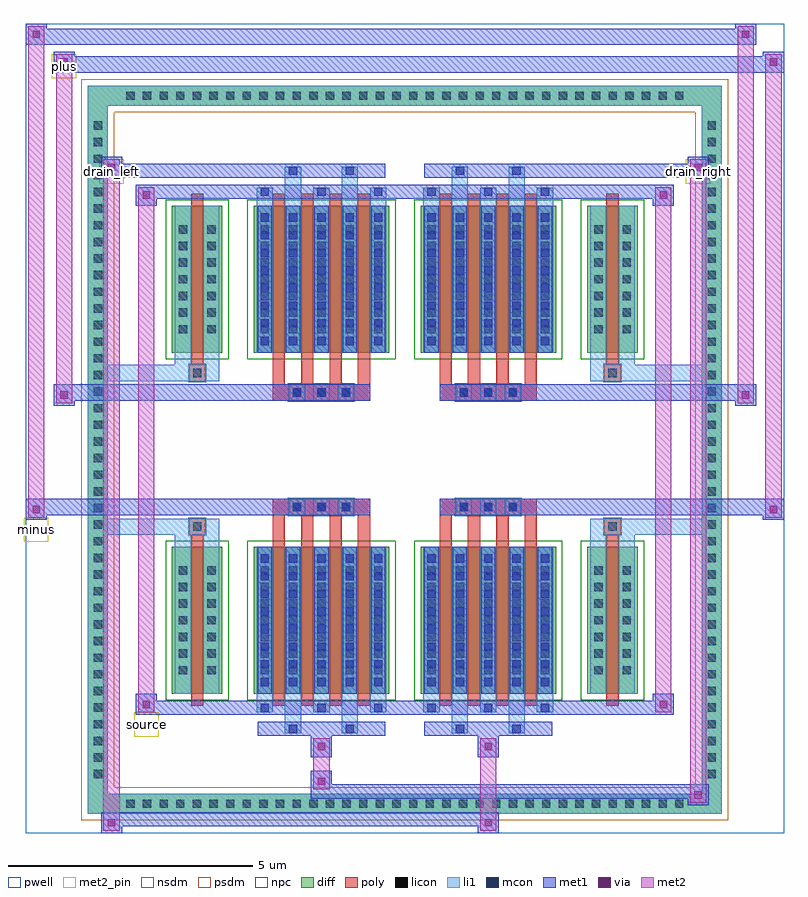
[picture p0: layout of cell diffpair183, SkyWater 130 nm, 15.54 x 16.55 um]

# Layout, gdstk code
import gdstk
lib = gdstk.Library(unit=1e-6, precision=5e-09)
def R(c, l, rs):  # rectangles x0, y0, x1, y1
    for r in rs: c.add(gdstk.rectangle(r[:2], r[2:], *l))
def A(c, l, x, y, w, h, nx, ny, dx, dy):  # array of equal rectangles
    R(c, l, [(x+i*dx, y+j*dy, x+i*dx+w, y+j*dy+h) for i in range(nx) for j in range(ny)])
def P(c, l, *ps):  # polygons
    for p in ps: c.add(gdstk.Polygon(p, *l))
pwell = (64, 44)
diff = (65, 20)
poly = (66, 20)
licon = (66, 44)
li1 = (67, 20)
mcon = (67, 44)
met1 = (68, 20)
via = (68, 44)
met2_pin = (69, 16)
met2 = (69, 20)
nsdm = (93, 44)
psdm = (94, 20)
npc = (95, 20)

diffpair183 = lib.new_cell('diffpair183')
R(diffpair183, pwell, [(-7.75,-7.84,7.75,8.71), (-5.07,-6.03,-0.01,-0.805), (0.01,-6.03,5.07,-0.805), (-5.07,0.805,-0.01,6.03), (0.01,0.805,5.07,6.03)])
A(diffpair183, diff, -5.815, -7.44, 0.41, 0.41, 34, 2, 0.34, 14.47)
A(diffpair183, diff, -6.48, -6.835, 0.41, 0.41, 1, 40, 0, 0.34)
A(diffpair183, diff, 6.07, -6.835, 0.41, 0.41, 1, 40, 0, 0.34)
R(diffpair183, diff, [(-5.815,-7.44,5.815,-7.03), (-6.48,-6.835,-6.07,6.835), (6.07,-6.835,6.48,6.835), (-4.76,-4.985,-3.73,-1.985), (-3.09,-4.985,-0.32,-1.985), (0.32,-4.985,3.09,-1.985), (3.73,-4.985,4.76,-1.985), (-4.76,1.985,-3.73,4.985), (-3.09,1.985,-0.32,4.985), (0.32,1.985,3.09,4.985), (3.73,1.985,4.76,4.985), (-5.815,7.03,5.815,7.44)])
P(diffpair183, diff, [(6.48,7.44),(-6.48,7.44),(-6.48,-7.03),(-6.07,-7.03),(-6.07,7.03),(6.07,7.03),(6.07,-7.03),(-6.07,-7.03),(-6.48,-7.03),(-6.48,-7.44),(6.48,-7.44)])
A(diffpair183, poly, -2.7, -5.235, 0.25, 3.5, 4, 2, 0.58, 6.97)
A(diffpair183, poly, 0.71, -5.235, 0.25, 3.5, 4, 2, 0.58, 6.97)
A(diffpair183, poly, -2.7, -1.735, 0.25, 0.4, 4, 2, 0.58, 3.07)
A(diffpair183, poly, 0.71, -1.735, 0.25, 0.4, 4, 2, 0.58, 3.07)
A(diffpair183, poly, -2.37, -1.335, 0.33, 0.33, 3, 2, 0.5, 2.34)
A(diffpair183, poly, 1.04, -1.335, 0.33, 0.33, 3, 2, 0.5, 2.34)
R(diffpair183, poly, [(-4.37,-5.235,-4.12,-1.735), (4.12,-5.235,4.37,-1.735), (-4.41,-1.735,-4.08,-1.405), (-4.41,-1.735,-4.08,-1.405), (4.08,-1.735,4.41,-1.405), (4.08,-1.735,4.41,-1.405), (-2.7,-1.335,-0.71,-1.005), (0.71,-1.335,2.7,-1.005), (-2.7,1.005,-0.71,1.335), (0.71,1.005,2.7,1.335), (-4.41,1.405,-4.08,1.735), (-4.41,1.405,-4.08,1.735), (4.08,1.405,4.41,1.735), (4.08,1.405,4.41,1.735), (-4.37,1.735,-4.12,5.235), (4.12,1.735,4.37,5.235)])
A(diffpair183, licon, -5.695, -7.32, 0.17, 0.17, 34, 2, 0.34, 14.47)
A(diffpair183, licon, -6.36, -6.715, 0.17, 0.17, 1, 40, 0, 0.34)
A(diffpair183, licon, 6.19, -6.715, 0.17, 0.17, 1, 40, 0, 0.34)
A(diffpair183, licon, -4.62, -4.59, 0.17, 0.17, 1, 7, 0, 0.34)
A(diffpair183, licon, -4.04, -4.59, 0.17, 0.17, 1, 7, 0, 0.34)
A(diffpair183, licon, -2.95, -4.59, 0.17, 0.17, 5, 7, 0.58, 0.34)
A(diffpair183, licon, 0.46, -4.59, 0.17, 0.17, 5, 7, 0.58, 0.34)
A(diffpair183, licon, 3.87, -4.59, 0.17, 0.17, 1, 7, 0, 0.34)
A(diffpair183, licon, 4.45, -4.59, 0.17, 0.17, 1, 7, 0, 0.34)
A(diffpair183, licon, -2.29, -1.255, 0.17, 0.17, 3, 2, 0.5, 2.34)
A(diffpair183, licon, 1.12, -1.255, 0.17, 0.17, 3, 2, 0.5, 2.34)
A(diffpair183, licon, -4.62, 2.38, 0.17, 0.17, 1, 7, 0, 0.34)
A(diffpair183, licon, -4.04, 2.38, 0.17, 0.17, 1, 7, 0, 0.34)
A(diffpair183, licon, -2.95, 2.38, 0.17, 0.17, 5, 7, 0.58, 0.34)
A(diffpair183, licon, 0.46, 2.38, 0.17, 0.17, 5, 7, 0.58, 0.34)
A(diffpair183, licon, 3.87, 2.38, 0.17, 0.17, 1, 7, 0, 0.34)
A(diffpair183, licon, 4.45, 2.38, 0.17, 0.17, 1, 7, 0, 0.34)
R(diffpair183, licon, [(-4.33,-1.655,-4.16,-1.485), (4.16,-1.655,4.33,-1.485), (-4.33,1.485,-4.16,1.655), (4.16,1.485,4.33,1.655)])
A(diffpair183, li1, -5.775, -7.4, 0.33, 0.33, 34, 2, 0.34, 14.47)
A(diffpair183, li1, -6.44, -6.795, 0.33, 0.33, 1, 40, 0, 0.34)
A(diffpair183, li1, 6.11, -6.795, 0.33, 0.33, 1, 40, 0, 0.34)
A(diffpair183, li1, -3.03, -5.36, 0.33, 0.375, 3, 2, 1.16, 10.345)
A(diffpair183, li1, -2.95, -5.36, 0.17, 0.17, 3, 2, 1.16, 10.55)
A(diffpair183, li1, 0.38, -5.36, 0.33, 0.375, 3, 2, 1.16, 10.345)
A(diffpair183, li1, 0.46, -5.36, 0.17, 0.17, 3, 2, 1.16, 10.55)
A(diffpair183, li1, -3.03, -4.985, 0.33, 3, 5, 2, 0.58, 6.97)
A(diffpair183, li1, 0.38, -4.985, 0.33, 3, 5, 2, 0.58, 6.97)
A(diffpair183, li1, -2.95, -4.83, 0.17, 0.17, 5, 8, 0.58, 0.36)
A(diffpair183, li1, -2.95, -4.83, 0.17, 2.69, 5, 2, 0.58, 6.97)
A(diffpair183, li1, 0.46, -4.83, 0.17, 0.17, 5, 8, 0.58, 0.36)
A(diffpair183, li1, 0.46, -4.83, 0.17, 2.69, 5, 2, 0.58, 6.97)
A(diffpair183, li1, -4.7, -4.67, 0.33, 0.33, 1, 7, 0, 0.34)
A(diffpair183, li1, -4.12, -4.67, 0.33, 0.33, 1, 7, 0, 0.34)
A(diffpair183, li1, -3.03, -4.67, 0.33, 0.33, 5, 7, 0.58, 0.34)
A(diffpair183, li1, 0.38, -4.67, 0.33, 0.33, 5, 7, 0.58, 0.34)
A(diffpair183, li1, 3.79, -4.67, 0.33, 0.33, 1, 7, 0, 0.34)
A(diffpair183, li1, 4.37, -4.67, 0.33, 0.33, 1, 7, 0, 0.34)
A(diffpair183, li1, -2.37, -1.335, 0.33, 0.33, 3, 2, 0.5, 2.34)
A(diffpair183, li1, 1.04, -1.335, 0.33, 0.33, 3, 2, 0.5, 2.34)
A(diffpair183, li1, -2.95, 2.14, 0.17, 0.17, 5, 8, 0.58, 0.36)
A(diffpair183, li1, 0.46, 2.14, 0.17, 0.17, 5, 8, 0.58, 0.36)
A(diffpair183, li1, -4.7, 2.3, 0.33, 0.33, 1, 7, 0, 0.34)
A(diffpair183, li1, -4.12, 2.3, 0.33, 0.33, 1, 7, 0, 0.34)
A(diffpair183, li1, -3.03, 2.3, 0.33, 0.33, 5, 7, 0.58, 0.34)
A(diffpair183, li1, 0.38, 2.3, 0.33, 0.33, 5, 7, 0.58, 0.34)
A(diffpair183, li1, 3.79, 2.3, 0.33, 0.33, 1, 7, 0, 0.34)
A(diffpair183, li1, 4.37, 2.3, 0.33, 0.33, 1, 7, 0, 0.34)
R(diffpair183, li1, [(-6.48,-7.44,-6.07,-7.03), (-6.48,-7.44,-6.07,-7.03), (-6.07,-7.44,6.07,-7.03), (6.07,-7.44,6.48,-7.03), (6.07,-7.44,6.48,-7.03), (-6.48,-7.03,-6.07,7.03), (6.07,-7.03,6.48,7.03), (-2.45,-5.79,-2.12,-4.985), (-2.37,-5.79,-2.2,-5.62), (-1.29,-5.79,-0.96,-4.985), (-1.21,-5.79,-1.04,-5.62), (0.96,-5.79,1.29,-4.985), (1.04,-5.79,1.21,-5.62), (2.12,-5.79,2.45,-4.985), (2.2,-5.79,2.37,-5.62), (-4.7,-4.985,-4.37,-1.985), (-4.12,-4.985,-3.79,-1.985), (3.79,-4.985,4.12,-1.985), (4.37,-4.985,4.7,-1.985), (-4.7,-1.985,-4.37,-1.405), (-4.12,-1.985,-3.79,-1.405), (3.79,-1.985,4.12,-1.405), (4.37,-1.985,4.7,-1.405), (-6.48,-1.735,-4.41,-1.405), (-4.7,-1.735,-4.41,-1.405), (-4.41,-1.735,-4.08,-1.405), (-4.08,-1.735,-3.79,-1.405), (3.79,-1.735,4.08,-1.405), (4.08,-1.735,4.41,-1.405), (4.08,-1.735,6.48,-1.405), (4.41,-1.735,4.7,-1.405), (-6.48,1.405,-4.41,1.735), (-4.7,1.405,-4.41,1.735), (-4.7,1.405,-4.37,1.985), (-4.41,1.405,-4.08,1.735), (-4.12,1.405,-3.79,1.985), (-4.08,1.405,-3.79,1.735), (3.79,1.405,4.08,1.735), (3.79,1.405,4.12,1.985), (4.08,1.405,4.41,1.735), (4.08,1.405,6.48,1.735), (4.37,1.405,4.7,1.985), (4.41,1.405,4.7,1.735), (-4.7,1.985,-4.37,4.985), (-4.12,1.985,-3.79,4.985), (3.79,1.985,4.12,4.985), (4.37,1.985,4.7,4.985), (-2.45,4.985,-2.12,5.79), (-1.29,4.985,-0.96,5.79), (0.96,4.985,1.29,5.79), (2.12,4.985,2.45,5.79), (-2.37,5.62,-2.2,5.79), (-1.21,5.62,-1.04,5.79), (1.04,5.62,1.21,5.79), (2.2,5.62,2.37,5.79), (-6.48,7.03,-6.07,7.44), (-6.48,7.03,-6.07,7.44), (-6.07,7.03,6.07,7.44), (6.07,7.03,6.48,7.44), (6.07,7.03,6.48,7.44)])
A(diffpair183, mcon, -2.95, -5.36, 0.17, 0.17, 3, 2, 1.16, 10.55)
A(diffpair183, mcon, 0.46, -5.36, 0.17, 0.17, 3, 2, 1.16, 10.55)
A(diffpair183, mcon, -2.95, -4.83, 0.17, 0.17, 5, 8, 0.58, 0.36)
A(diffpair183, mcon, 0.46, -4.83, 0.17, 0.17, 5, 8, 0.58, 0.36)
A(diffpair183, mcon, -2.29, -1.255, 0.17, 0.17, 3, 2, 0.5, 2.34)
A(diffpair183, mcon, 1.12, -1.255, 0.17, 0.17, 3, 2, 0.5, 2.34)
A(diffpair183, mcon, -2.95, 2.14, 0.17, 0.17, 5, 8, 0.58, 0.36)
A(diffpair183, mcon, 0.46, 2.14, 0.17, 0.17, 5, 8, 0.58, 0.36)
R(diffpair183, mcon, [(-2.37,-5.79,-2.2,-5.62), (-1.21,-5.79,-1.04,-5.62), (1.04,-5.79,1.21,-5.62), (2.2,-5.79,2.37,-5.62), (-2.37,5.62,-2.2,5.79), (-1.21,5.62,-1.04,5.79), (1.04,5.62,1.21,5.79), (2.2,5.62,2.37,5.79)])
A(diffpair183, met1, -3.01, -5.42, 0.29, 0.29, 3, 2, 1.16, 10.55)
A(diffpair183, met1, 0.4, -5.42, 0.29, 0.29, 3, 2, 1.16, 10.55)
A(diffpair183, met1, -3.01, -4.985, 0.29, 3, 5, 2, 0.58, 6.97)
A(diffpair183, met1, 0.4, -4.985, 0.29, 3, 5, 2, 0.58, 6.97)
A(diffpair183, met1, -3.01, -4.89, 0.29, 0.29, 5, 8, 0.58, 0.36)
A(diffpair183, met1, 0.4, -4.89, 0.29, 0.29, 5, 8, 0.58, 0.36)
A(diffpair183, met1, -2.35, -1.315, 0.29, 0.29, 3, 2, 0.5, 2.34)
A(diffpair183, met1, 1.06, -1.315, 0.29, 0.29, 3, 2, 0.5, 2.34)
A(diffpair183, met1, -3.01, 2.08, 0.29, 0.29, 5, 8, 0.58, 0.36)
A(diffpair183, met1, 0.4, 2.08, 0.29, 0.29, 5, 8, 0.58, 0.36)
R(diffpair183, met1, [(-6.21,-7.84,-5.78,-7.41), (1.49,-7.84,1.92,-7.41), (-6.21,-7.7,1.92,-7.41), (5.78,-7.27,6.21,-6.84), (-1.92,-7.13,6.21,-6.84), (-1.92,-6.99,-1.49,-6.56), (-1.92,-6.28,-1.49,-5.85), (1.49,-6.28,1.92,-5.85), (-3.01,-5.85,-0.4,-5.56), (-2.43,-5.85,-2.14,-5.56), (-1.27,-5.85,-0.98,-5.56), (0.4,-5.85,3.01,-5.56), (0.98,-5.85,1.27,-5.56), (2.14,-5.85,2.43,-5.56), (-5.5,-5.42,-5.07,-4.99), (-5.5,-5.42,-3.01,-5.13), (-3.01,-5.42,-0.4,-5.13), (-0.4,-5.42,0.4,-5.13), (0.4,-5.42,3.01,-5.13), (3.01,-5.42,5.5,-5.13), (5.07,-5.42,5.5,-4.99), (-7.75,-1.435,-7.32,-1.005), (7.32,-1.435,7.75,-1.005), (-7.75,-1.335,-0.71,-1.005), (-2.7,-1.335,-0.71,-1.005), (0.71,-1.335,2.7,-1.005), (0.71,-1.335,7.75,-1.005), (-7.18,0.905,-6.75,1.335), (6.75,0.905,7.18,1.335), (-7.18,1.005,-2.7,1.335), (-2.7,1.005,-0.71,1.335), (0.71,1.005,2.7,1.335), (2.7,1.005,7.18,1.335), (-5.5,4.99,-5.07,5.42), (5.07,4.99,5.5,5.42), (-5.5,5.13,-3.01,5.42), (-3.01,5.13,-0.4,5.42), (-0.4,5.13,0.4,5.42), (0.4,5.13,3.01,5.42), (3.01,5.13,5.5,5.42), (-6.21,5.56,-5.78,5.99), (-6.21,5.56,-3.01,5.85), (-3.01,5.56,-0.4,5.85), (-2.43,5.56,-2.14,5.85), (-1.27,5.56,-0.98,5.85), (0.4,5.56,3.01,5.85), (0.98,5.56,1.27,5.85), (2.14,5.56,2.43,5.85), (3.01,5.56,6.21,5.85), (5.78,5.56,6.21,5.99), (-7.18,7.71,-6.75,8.14), (-7.18,7.71,-5.07,8.04), (-5.07,7.71,5.07,8.04), (5.07,7.71,7.75,8.04), (7.32,7.71,7.75,8.14), (-7.75,8.28,-7.32,8.71), (-7.75,8.28,-5.07,8.61), (-5.07,8.28,5.07,8.61), (5.07,8.28,7.18,8.61), (6.75,8.28,7.18,8.71)])
R(diffpair183, via, [(-6.07,-7.7,-5.92,-7.55), (1.63,-7.7,1.78,-7.55), (5.92,-7.13,6.07,-6.98), (-1.78,-6.85,-1.63,-6.7), (-1.78,-6.14,-1.63,-5.99), (1.63,-6.14,1.78,-5.99), (-5.36,-5.28,-5.21,-5.13), (5.21,-5.28,5.36,-5.13), (-7.61,-1.295,-7.46,-1.145), (7.46,-1.295,7.61,-1.145), (-7.04,1.045,-6.89,1.195), (6.89,1.045,7.04,1.195), (-5.36,5.13,-5.21,5.28), (5.21,5.13,5.36,5.28), (-6.07,5.7,-5.92,5.85), (5.92,5.7,6.07,5.85), (-7.04,7.85,-6.89,8), (7.46,7.85,7.61,8), (-7.61,8.42,-7.46,8.57), (6.89,8.42,7.04,8.57)])
R(diffpair183, met2_pin, [(-5.535,-5.87,-5.035,-5.37), (-7.785,-1.885,-7.285,-1.385), (-6.245,5.44,-5.745,5.94), (5.745,5.44,6.245,5.94), (-7.215,7.59,-6.715,8.09)])
R(diffpair183, met2, [(-6.16,-7.79,-5.83,-7.46), (-6.16,-7.79,-5.83,5.94), (1.54,-7.79,1.87,-7.46), (1.54,-7.46,1.87,-6.23), (5.83,-7.22,6.16,-6.89), (5.83,-7.22,6.16,5.94), (-1.87,-6.94,-1.54,-6.61), (-1.87,-6.61,-1.54,-6.23), (-1.87,-6.23,-1.54,-5.9), (1.54,-6.23,1.87,-5.9), (-5.45,-5.37,-5.12,-5.04), (-5.45,-5.37,-5.12,5.37), (5.12,-5.37,5.45,-5.04), (5.12,-5.37,5.45,5.37), (-7.7,-1.385,-7.37,-1.055), (-7.7,-1.385,-7.37,8.66), (7.37,-1.385,7.7,-1.055), (7.37,-1.385,7.7,8.09), (-7.13,0.955,-6.8,1.285), (-7.13,0.955,-6.8,8.09), (6.8,0.955,7.13,1.285), (6.8,0.955,7.13,8.66), (-5.45,5.04,-5.12,5.37), (5.12,5.04,5.45,5.37), (-6.16,5.61,-5.83,5.94), (5.83,5.61,6.16,5.94), (-7.13,7.76,-6.8,8.09), (7.37,7.76,7.7,8.09), (-7.7,8.33,-7.37,8.66), (6.8,8.33,7.13,8.66)])
P(diffpair183, met2, [(7.7,-1.385),(7.7,-1.385),(7.7,-1.055),(7.7,-1.055)],
  [(7.7,7.76),(7.7,7.76),(7.7,8.09),(7.7,8.09)],
  [(-7.37,-1.385),(-7.37,-1.385),(-7.37,-1.055),(-7.37,-1.055)],
  [(-7.37,8.33),(-7.37,8.33),(-7.37,8.66),(-7.37,8.66)],
  [(7.13,0.955),(7.13,0.955),(7.13,1.285),(7.13,1.285)],
  [(7.13,8.33),(7.13,8.33),(7.13,8.66),(7.13,8.66)],
  [(-6.8,0.955),(-6.8,0.955),(-6.8,1.285),(-6.8,1.285)],
  [(-6.8,7.76),(-6.8,7.76),(-6.8,8.09),(-6.8,8.09)],
  [(-5.83,-7.79),(-5.83,-7.79),(-5.83,-7.46),(-5.83,-7.46)],
  [(-5.83,5.61),(-5.83,5.61),(-5.83,5.94),(-5.83,5.94)],
  [(6.16,-7.22),(6.16,-7.22),(6.16,-6.89),(6.16,-6.89)],
  [(6.16,5.61),(6.16,5.61),(6.16,5.94),(6.16,5.94)],
  [(-5.12,-5.37),(-5.12,-5.37),(-5.12,-5.04),(-5.12,-5.04)],
  [(-5.12,5.04),(-5.12,5.04),(-5.12,5.37),(-5.12,5.37)],
  [(5.45,-5.37),(5.45,-5.37),(5.45,-5.04),(5.45,-5.04)],
  [(5.45,5.04),(5.45,5.04),(5.45,5.37),(5.45,5.37)])
R(diffpair183, nsdm, [(-4.89,-5.115,-3.6,-1.855), (-3.22,-5.115,-0.19,-1.855), (0.19,-5.115,3.22,-1.855), (3.6,-5.115,4.89,-1.855), (-4.89,1.855,-3.6,5.115), (-3.22,1.855,-0.19,5.115), (0.19,1.855,3.22,5.115), (3.6,1.855,4.89,5.115)])
P(diffpair183, psdm, [(6.61,7.57),(-6.61,7.57),(-6.61,-6.9),(-5.94,-6.9),(-5.94,6.9),(5.94,6.9),(5.94,-6.9),(-5.94,-6.9),(-6.61,-6.9),(-6.61,-7.57),(6.61,-7.57)])
A(diffpair183, npc, -2.39, -1.355, 0.37, 0.37, 3, 2, 0.5, 2.34)
A(diffpair183, npc, 1.02, -1.355, 0.37, 0.37, 3, 2, 0.5, 2.34)
R(diffpair183, npc, [(-4.43,-1.755,-4.06,-1.385), (4.06,-1.755,4.43,-1.385), (-2.39,-1.355,-1.52,-0.985), (-2.39,-1.355,-1.52,-0.985), (-1.89,-1.355,-1.02,-0.985), (-1.89,-1.355,-1.02,-0.985), (1.02,-1.355,1.89,-0.985), (1.02,-1.355,1.89,-0.985), (1.52,-1.355,2.39,-0.985), (1.52,-1.355,2.39,-0.985), (-2.39,0.985,-1.52,1.355), (-2.39,0.985,-1.52,1.355), (-1.89,0.985,-1.02,1.355), (-1.89,0.985,-1.02,1.355), (1.02,0.985,1.89,1.355), (1.02,0.985,1.89,1.355), (1.52,0.985,2.39,1.355), (1.52,0.985,2.39,1.355), (-4.43,1.385,-4.06,1.755), (4.06,1.385,4.43,1.755)])
diffpair183.add(gdstk.Label('minus', (-7.535,-1.635), layer=69, texttype=5))
diffpair183.add(gdstk.Label('drain_right', (5.995,5.69), layer=69, texttype=5))
diffpair183.add(gdstk.Label('drain_left', (-5.995,5.69), layer=69, texttype=5))
diffpair183.add(gdstk.Label('source', (-5.285,-5.62), layer=69, texttype=5))
diffpair183.add(gdstk.Label('plus', (-6.965,7.84), layer=69, texttype=5))

lib.write_gds('diffpair183.gds')
